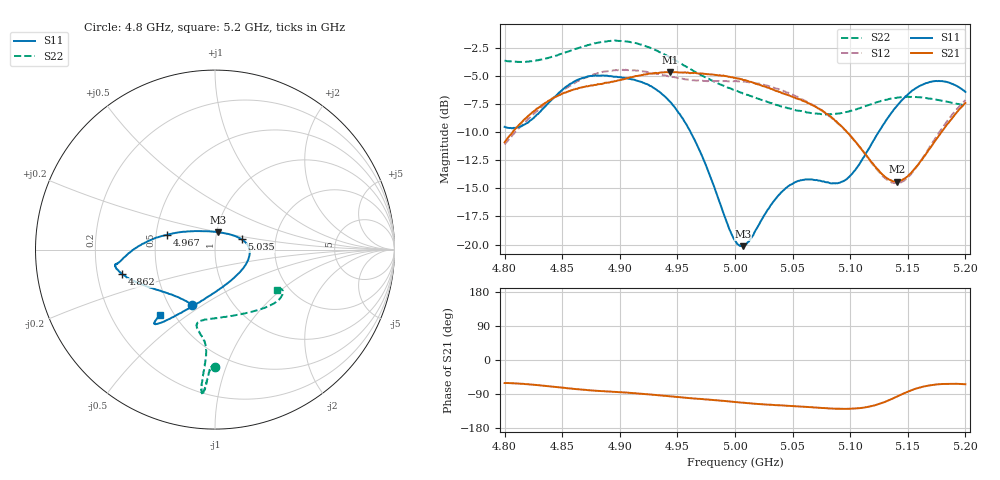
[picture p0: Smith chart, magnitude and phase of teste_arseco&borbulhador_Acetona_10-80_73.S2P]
! Network Analyzer HP8722D
! Hewlett-Packard
! Data name: Linha & Wilkinson
! Saver's name: Rodrigo Anjos
! Comments: Teste da utilização de aquisição
! continua pelo VNA HP8722D
! Time and date: 17/4/2025 14:58
!  Frequency  S11  S21  S12  S22
# HZ  S  MA R 50
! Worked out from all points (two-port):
!   401 points, 4.8 GHz to 5.2 GHz, reference 50 ohm
!   highest |S21| = -4.66 dB at 4.944 GHz (marker M1); lowest = -14.4 dB at 5.141 GHz (marker M2)
!   |S21| within 3 dB of the highest: 4.832 GHz to 5.068 GHz (236.5 MHz wide, 4.78 % of centre); 5.197792 GHz to end of sweep
!   lowest |S11| = -20.1 dB at 5.007 GHz (marker M3), VSWR 1.22, Z = 50.8 + j9.92 ohm
!   |S11| at or under -10 dB: 4.961 GHz to 5.125 GHz (163.3 MHz wide, 3.24 % of centre)
!   |S22| runs from -8.4 to -1.9 dB; largest |S21 - S12| = 0.88
!   S11 on the Smith chart (normalised r, x): 4.8 GHz: 0.65, -0.45; 4.862 GHz: 0.31, -0.12; 4.967 GHz: 0.57, +0.10; 5.035 GHz: 1.34, +0.16; 5.2 GHz: 0.42, -0.40
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4.8e9  0.3333 -112.9  0.2845 -60.8  0.2783 -174.9  0.6555 -89.8
4.819e9  0.3458 -132.8  0.3664 -63.7  0.3549 -173.2  0.6498 -91.4
4.862e9  0.5355 -165.2  0.4922 -76.7  0.5278 -176.3  0.7418 -93.7
4.867e9  0.5486 -167.2  0.4994 -78.2  0.5438 -177.4  0.7557 -93.8
4.901e9  0.5537 -171.7  0.5396 -85.1  0.597 175.6  0.8041 -95.1
4.934e9  0.4793 -177.7  0.5793 -93.1  0.5726 172.0  0.7181 -95.5
4.944e9  0.4292 177.6  0.5848 -96.1  0.556 172.0  0.6762 -95.3
4.967e9  0.2777 162.4  0.5768 -102.1  0.5355 174.1  0.5785 -94.8
5e9  0.1042 103.7  0.5504 -111.0  0.5327 176.6  0.4846 -99.1
5.007e9  0.0983 79.8  0.5387 -112.6  0.5292 176.2  0.4688 -100.7
5.014e9  0.1069 58.0  0.5282 -114.6  0.5255 176.2  0.4566 -102.1
5.035e9  0.1588 21.4  0.4828 -119.1  0.4951 175.2  0.4188 -103.3
5.05e9  0.1861 5.9  0.454 -121.7  0.4632 174.5  0.3996 -99.9
5.067e9  0.1947 -12.3  0.417 -124.7  0.4191 174.0  0.3833 -90.9
5.087e9  0.1869 -44.2  0.3543 -128.5  0.3541 173.9  0.3807 -75.9
5.098e9  0.1977 -67.0  0.3131 -128.7  0.3129 174.6  0.3892 -66.7
5.134e9  0.3733 -115.7  0.194 -105.5  0.1908 -158.6  0.4439 -43.0
5.141e9  0.4156 -119.7  0.1905 -95.8  0.1877 -147.5  0.4498 -39.9
5.153e9  0.4794 -124.7  0.2084 -80.0  0.206 -129.1  0.4532 -35.6
5.17e9  0.5286 -128.3  0.2709 -66.5  0.2765 -112.6  0.4448 -31.8
5.184e9  0.5273 -129.7  0.3414 -62.9  0.3535 -107.1  0.431 -30.8
5.2e9  0.4767 -130.1  0.4257 -64.1  0.4385 -106.2  0.4149 -33.1
